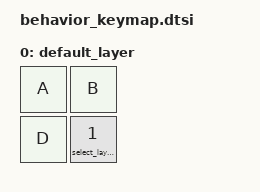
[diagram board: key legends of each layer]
#include <dt-bindings/zmk/keys.h>
#include <behaviors.dtsi>
#include <dt-bindings/zmk/kscan_mock.h>
#include <dt-bindings/zmk/matrix_transform.h>

/*
 * A stock 2x2 layout and an alternate 3-key layout that omits the physical key RC(0,1).
 *
 *   physical key  stock position  alt position
 *   RC(0,0)             0             0
 *   RC(0,1)             1             (absent)
 *   RC(1,0)             2             1
 *   RC(1,1)             3             2
 */

/ {
    chosen {
        /delete-property/ zmk,kscan;
        zmk,physical-layout = &stock_layout;
    };

    stock_transform: stock_transform {
        compatible = "zmk,matrix-transform";
        columns = <2>;
        rows = <2>;
        map = <RC(0,0) RC(0,1) RC(1,0) RC(1,1)>;
    };

    alt_transform: alt_transform {
        compatible = "zmk,matrix-transform";
        columns = <2>;
        rows = <2>;
        map = <RC(0,0) RC(1,0) RC(1,1)>;
    };

    stock_layout: stock_layout {
        compatible = "zmk,physical-layout";
        display-name = "Stock";
        kscan = <&kscan>;
        transform = <&stock_transform>;
    };

    alt_layout: alt_layout {
        compatible = "zmk,physical-layout";
        display-name = "Alt";
        kscan = <&kscan>;
        transform = <&alt_transform>;
    };

    position_map {
        compatible = "zmk,physical-layout-position-map";
        complete;

        stock {
            physical-layout = <&stock_layout>;
            positions = <0 2 3>;
        };

        alt {
            physical-layout = <&alt_layout>;
            positions = <0 1 2>;
        };
    };

    behaviors {
        select_layout: select_layout {
            compatible = "zmk,behavior-select-physical-layout";
            #binding-cells = <1>;
        };
    };

    combos {
        compatible = "zmk,combos";

        // Uses RC(0,1) (stock position 1), which does not exist in the alt layout.
        combo_top_row {
            timeout-ms = <30>;
            key-positions = <0 1>;
            bindings = <&kp C>;
        };
    };

    keymap {
        compatible = "zmk,keymap";

        // Stock positions: 0 RC(0,0)=A, 1 RC(0,1)=B, 2 RC(1,0)=D, 3 RC(1,1)=select_layout 1
        default_layer {
            bindings = <
                &kp A &kp B
                &kp D &select_layout 1
            >;
        };
    };
};
